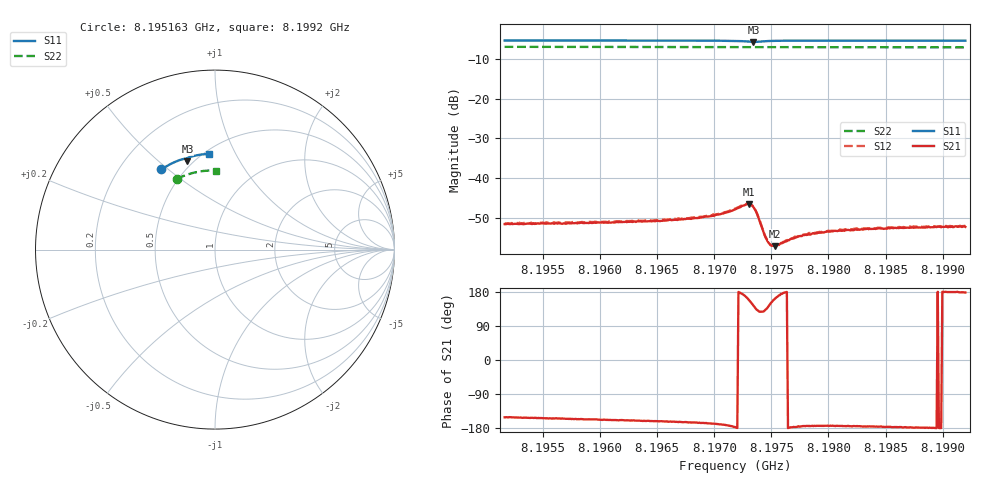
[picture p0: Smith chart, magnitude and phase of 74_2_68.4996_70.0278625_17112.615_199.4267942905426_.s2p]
#  HZ  S  RI  R  50.00
! Rohde & Schwarz Vector Network Analyzer
! Rohde-Schwarz,ZNB20-2Port,1311601062101988,3.16
! Created: UTC 3/20/2024, 4:51:52 PM
! freq[Hz]  re:S11  im:S11  re:S21  im:S21  re:S12  im:S12  re:S22  im:S22
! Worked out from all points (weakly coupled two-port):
!   401 points, 8.195163 GHz to 8.1992 GHz, reference 50 ohm
!   highest |S21| = -46.53 dB at 8.197302 GHz (marker M1); lowest = -57.1 dB at 8.197534 GHz (marker M2)
!   lowest |S11| = -5.8 dB at 8.197343 GHz (marker M3), VSWR 3.13, Z = 23.3 + j31.3 ohm
!   |S11| at or under -10 dB: nowhere
!   |S22| runs from -7.1 to -7.0 dB; largest |S21 - S12| = 0.00025
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8.1951629e9  -0.2983 0.4476  -0.00231 -0.00127  -0.00242 -0.00125  -0.2123 0.3935
8.195839e9  -0.2568 0.472  -0.00251 -0.00113  -0.00261 -0.00104  -0.1779 0.4091
8.1965152e9  -0.2127 0.4925  -0.00273 -0.000903  -0.00286 -0.000798  -0.1421 0.4216
8.1967473e9  -0.1968 0.4987  -0.00292 -0.000858  -0.00301 -0.000746  -0.1297 0.4254
8.1969794e9  -0.1794 0.5041  -0.00328 -0.000698  -0.00335 -0.000574  -0.117 0.4286
8.1970602e9  -0.1728 0.5056  -0.00349 -0.000611  -0.00357 -0.00049  -0.1126 0.4295
8.1971813e9  -0.1613 0.506  -0.00405 -0.000224  -0.00414 -5.2e-05  -0.1059 0.431
8.1972721e9  -0.1521 0.5013  -0.00452 0.000947  -0.00455 0.00115  -0.1008 0.4319
8.1973024e9  -0.1507 0.4973  -0.0044 0.00171  -0.0044 0.00191  -0.0991 0.4321
8.1973427e9  -0.1535 0.4924  -0.00346 0.00258  -0.00341 0.00281  -0.0971 0.4324
8.197373e9  -0.1579 0.4925  -0.00243 0.00266  -0.00232 0.00278  -0.0956 0.4327
8.1974336e9  -0.161 0.5001  -0.00127 0.00161  -0.00123 0.00168  -0.0923 0.4336
8.1974638e9  -0.1596 0.5036  -0.0012 0.00112  -0.00118 0.00117  -0.0908 0.4339
8.197484e9  -0.1583 0.5057  -0.00122 0.000848  -0.0012 0.000901  -0.0897 0.4342
8.1975042e9  -0.1566 0.5073  -0.00126 0.000638  -0.00123 0.000703  -0.0885 0.4343
8.1975345e9  -0.1541 0.5094  -0.00133 0.000414  -0.00137 0.000452  -0.0867 0.4348
8.1977363e9  -0.1376 0.5168  -0.00184 -0.000167  -0.00186 -5.21e-05  -0.0755 0.4366
8.1978574e9  -0.1285 0.5195  -0.002 -0.000222  -0.00203 -0.000102  -0.0688 0.4374
8.1980391e9  -0.1151 0.5226  -0.00213 -0.000253  -0.00216 -0.000142  -0.0585 0.4388
8.1982308e9  -0.1013 0.5255  -0.00225 -0.00021  -0.00229 -0.000102  -0.0478 0.4396
8.1985336e9  -0.0796 0.529  -0.00233 -0.000145  -0.00241 -4.31e-05  -0.0307 0.4407
8.1991996e9  -0.0323 0.5333  -0.00243 7.96e-05  -0.00249 0.000178  0.00703 0.4404
